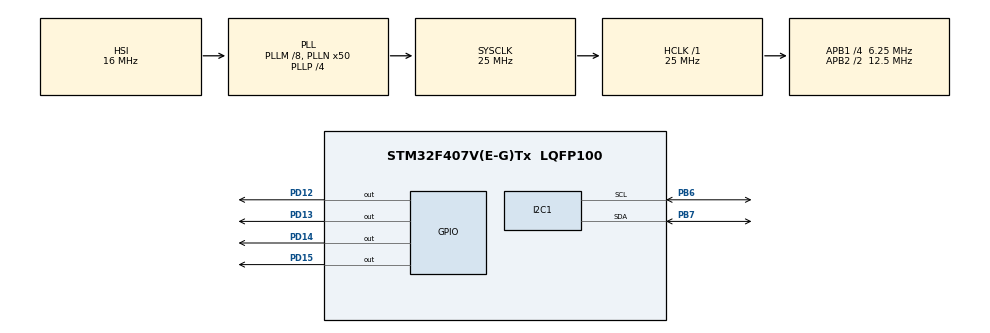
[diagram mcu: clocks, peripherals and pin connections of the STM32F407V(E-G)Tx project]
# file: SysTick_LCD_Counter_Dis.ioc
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Mcu.Family=STM32F4
Mcu.Name=STM32F407V(E-G)Tx
Mcu.Package=LQFP100
NVIC.PriorityGroup=NVIC_PRIORITYGROUP_0
NVIC.TIM1_UP_TIM10_IRQn=true\:0\:0\:false\:false\:true\:false\:true\:true
NVIC.TimeBase=TIM1_UP_TIM10_IRQn
NVIC.TimeBaseIP=TIM1
PB6.Mode=I2C
PB6.Signal=I2C1_SCL
PB7.Mode=I2C
PB7.Signal=I2C1_SDA
PD12.Signal=GPIO_Output
PD13.Signal=GPIO_Output
PD14.Signal=GPIO_Output
PD15.Signal=GPIO_Output
ProjectManager.HeapSize=0x200
ProjectManager.StackSize=0x400
ProjectManager.TargetToolchain=STM32CubeIDE
RCC.48MHZClocksFreq_Value=14285714.285714285
RCC.AHBFreq_Value=25000000
RCC.APB1CLKDivider=RCC_HCLK_DIV4
RCC.APB1Freq_Value=6250000
RCC.APB1TimFreq_Value=12500000
RCC.APB2CLKDivider=RCC_HCLK_DIV2
RCC.APB2Freq_Value=12500000
RCC.APB2TimFreq_Value=25000000
RCC.CortexFreq_Value=25000000
RCC.HCLKFreq_Value=25000000
RCC.HSE_VALUE=8000000
RCC.HSI_VALUE=16000000
RCC.LSE_VALUE=32768
RCC.PLLM=8
RCC.PLLN=50
RCC.PLLP=RCC_PLLP_DIV4
RCC.PLLQ=7
RCC.SYSCLKFreq_VALUE=25000000
RCC.SYSCLKSource=RCC_SYSCLKSOURCE_PLLCLK
RCC.VCOOutputFreq_Value=100000000
VP_SYS_VS_tim1.Mode=TIM1
board=STM32F407G-DISC1

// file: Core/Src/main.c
/* USER CODE BEGIN Header */
/**
  ******************************************************************************
  * @file           : main.c
  * @brief          : Main program body
  ******************************************************************************
  * @attention
  *
  * Copyright (c) 2026 STMicroelectronics.
  * All rights reserved.
  *
  * This software is licensed under terms that can be found in the LICENSE file
  * in the root directory of this software component.
  * If no LICENSE file comes with this software, it is provided AS-IS.
  *
  ******************************************************************************
  */
/* USER CODE END Header */
#include "main.h"

/* USER CODE BEGIN Includes */
#include <stdio.h>
#include "lcd.h"
/* USER CODE END Includes */

I2C_HandleTypeDef hi2c1;

void SystemClock_Config(void);
static void MX_GPIO_Init(void);
static void MX_I2C1_Init(void);

/* USER CODE BEGIN 0 */
// "jiffies" measures miliseconds from systeam startup
volatile uint32_t jiffies = 0;
//Systick is configures (at the startup) to generate interrupt after every 1ms
void SysTick_Handler()
{
	//handle the interrupt
	jiffies++;
}

void SysTick_Delay(uint32_t delay_ms)
{
	uint32_t wait_until = jiffies;
	while((jiffies - wait_until) < delay_ms)
		;
}
/* USER CODE END 0 */

int main(void)
{

  /* MCU Configuration--------------------------------------------------------*/

  /* Reset of all peripherals, Initializes the Flash interface and the Systick. */
  HAL_Init();

  /* Configure the system clock */
  SystemClock_Config();

  /* USER CODE BEGIN SysInit */
  //Initialize all configured peripherals
  MX_GPIO_Init();
  MX_I2C1_Init();
  /* USER CODE END SysInit */

  /* Initialize all configured peripherals */
  MX_GPIO_Init();
  MX_I2C1_Init();
  /* USER CODE BEGIN 2 */
  // assuming Core Clock = 25 MHz, Desired interrupt interval = 1 ms
  // Num of clocks to count = 25M / 1000 = 25000.
  SysTick_Config(25000);
  HAL_GPIO_WritePin(GPIOD, GPIO_PIN_15, GPIO_PIN_SET);
  lcd_init();
  lcd_puts(LCD_LINE1, "I'm Shree!");

  uint32_t c = 0, last_time = 0;
  char str[10];
  /* USER CODE END 2 */

  /* Infinite loop */
  /* USER CODE BEGIN WHILE */
  while (1)
  {

	  if((jiffies - last_time) >= 1000)
	  {
		  last_time = jiffies;
		  sprintf(str, "%lu", c);
		  lcd_puts(LCD_LINE2, str);
		  HAL_GPIO_TogglePin(GPIOD, GPIO_PIN_15);
		  c++;
	  }
	  //not needed blocking delay using non blocking so,
	  //SysTick_Delay(1000);

    /* USER CODE END WHILE */

  }
}

void SystemClock_Config(void)
{
  RCC_OscInitTypeDef RCC_OscInitStruct = {0};
  RCC_ClkInitTypeDef RCC_ClkInitStruct = {0};

  /** Configure the main internal regulator output voltage
  */
  __HAL_RCC_PWR_CLK_ENABLE();
  __HAL_PWR_VOLTAGESCALING_CONFIG(PWR_REGULATOR_VOLTAGE_SCALE1);

  /** Initializes the RCC Oscillators according to the specified parameters
  * in the RCC_OscInitTypeDef structure.
  */
  RCC_OscInitStruct.OscillatorType = RCC_OSCILLATORTYPE_HSI;
  RCC_OscInitStruct.HSIState = RCC_HSI_ON;
  RCC_OscInitStruct.HSICalibrationValue = RCC_HSICALIBRATION_DEFAULT;
  RCC_OscInitStruct.PLL.PLLState = RCC_PLL_ON;
  RCC_OscInitStruct.PLL.PLLSource = RCC_PLLSOURCE_HSI;
  RCC_OscInitStruct.PLL.PLLM = 8;
  RCC_OscInitStruct.PLL.PLLN = 50;
  RCC_OscInitStruct.PLL.PLLP = RCC_PLLP_DIV4;
  RCC_OscInitStruct.PLL.PLLQ = 7;
  if (HAL_RCC_OscConfig(&RCC_OscInitStruct) != HAL_OK)
  {
    Error_Handler();
  }

  /** Initializes the CPU, AHB and APB buses clocks
  */
  RCC_ClkInitStruct.ClockType = RCC_CLOCKTYPE_HCLK|RCC_CLOCKTYPE_SYSCLK
                              |RCC_CLOCKTYPE_PCLK1|RCC_CLOCKTYPE_PCLK2;
  RCC_ClkInitStruct.SYSCLKSource = RCC_SYSCLKSOURCE_PLLCLK;
  RCC_ClkInitStruct.AHBCLKDivider = RCC_SYSCLK_DIV1;
  RCC_ClkInitStruct.APB1CLKDivider = RCC_HCLK_DIV4;
  RCC_ClkInitStruct.APB2CLKDivider = RCC_HCLK_DIV2;

  if (HAL_RCC_ClockConfig(&RCC_ClkInitStruct, FLASH_LATENCY_0) != HAL_OK)
  {
    Error_Handler();
  }
}

static void MX_I2C1_Init(void)
{

  hi2c1.Instance = I2C1;
  hi2c1.Init.ClockSpeed = 100000;
  hi2c1.Init.DutyCycle = I2C_DUTYCYCLE_2;
  hi2c1.Init.OwnAddress1 = 0;
  hi2c1.Init.AddressingMode = I2C_ADDRESSINGMODE_7BIT;
  hi2c1.Init.DualAddressMode = I2C_DUALADDRESS_DISABLE;
  hi2c1.Init.OwnAddress2 = 0;
  hi2c1.Init.GeneralCallMode = I2C_GENERALCALL_DISABLE;
  hi2c1.Init.NoStretchMode = I2C_NOSTRETCH_DISABLE;
  if (HAL_I2C_Init(&hi2c1) != HAL_OK)
  {
    Error_Handler();
  }

}

static void MX_GPIO_Init(void)
{
  GPIO_InitTypeDef GPIO_InitStruct = {0};

  /* GPIO Ports Clock Enable */
  __HAL_RCC_GPIOD_CLK_ENABLE();
  __HAL_RCC_GPIOB_CLK_ENABLE();

  /*Configure GPIO pin Output Level */
  HAL_GPIO_WritePin(GPIOD, GPIO_PIN_12|GPIO_PIN_13|GPIO_PIN_14|GPIO_PIN_15, GPIO_PIN_RESET);

  /*Configure GPIO pins : PD12 PD13 PD14 PD15 */
  GPIO_InitStruct.Pin = GPIO_PIN_12|GPIO_PIN_13|GPIO_PIN_14|GPIO_PIN_15;
  GPIO_InitStruct.Mode = GPIO_MODE_OUTPUT_PP;
  GPIO_InitStruct.Pull = GPIO_NOPULL;
  GPIO_InitStruct.Speed = GPIO_SPEED_FREQ_LOW;
  HAL_GPIO_Init(GPIOD, &GPIO_InitStruct);

}

void HAL_TIM_PeriodElapsedCallback(TIM_HandleTypeDef *htim)
{
  if (htim->Instance == TIM1)
  {
    HAL_IncTick();
  }
}

void Error_Handler(void)
{
  __disable_irq();
  while (1)
  {
  }
}
